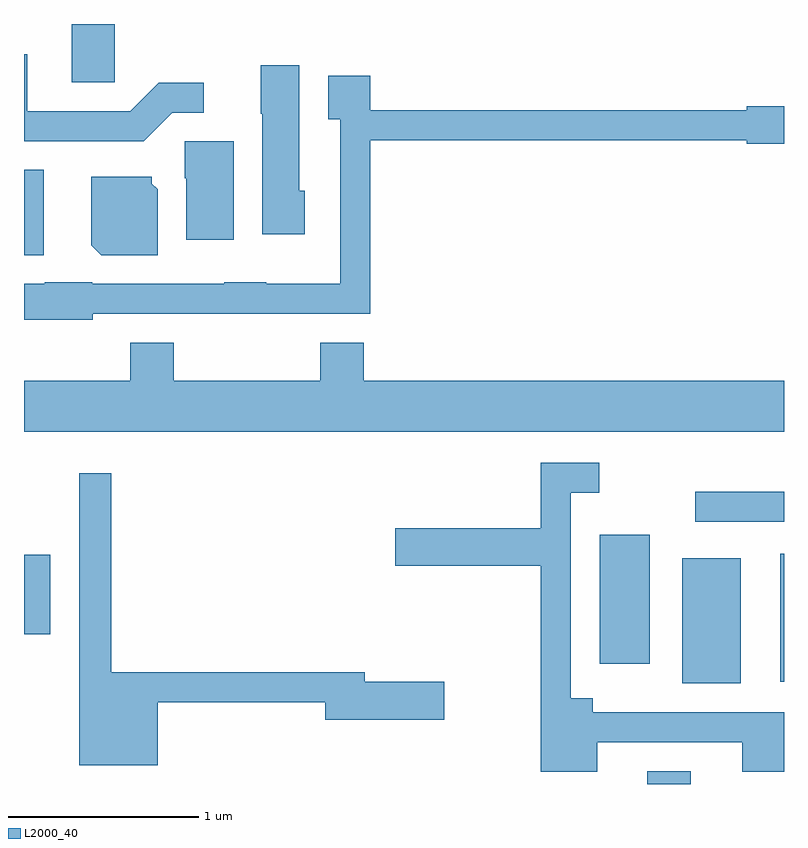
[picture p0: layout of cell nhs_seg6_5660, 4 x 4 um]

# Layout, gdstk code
import gdstk
lib = gdstk.Library(unit=1e-6, precision=1e-09)
def R(c, l, rs):  # rectangles x0, y0, x1, y1
    for r in rs: c.add(gdstk.rectangle(r[:2], r[2:], *l))
def P(c, l, *ps):  # polygons
    for p in ps: c.add(gdstk.Polygon(p, *l))
L2000_40 = (2000, 40)

nhs_seg6_5660 = lib.new_cell('nhs_seg6_5660')
R(nhs_seg6_5660, L2000_40, [(360.891,1568.162,361.119,1568.229), (361.076,1568.691,361.384,1569.349), (361.591,1568.701,361.611,1569.374), (360.641,1568.796,360.904,1569.474), (357.611,1568.951,357.749,1569.369), (361.143,1569.541,361.611,1569.699), (357.611,1570.946,357.714,1571.394), (357.861,1571.856,358.089,1572.162)])
P(nhs_seg6_5660, L2000_40, [(358.392,1571.696),(358.558,1571.696),(358.558,1571.854),(358.319,1571.854),(358.169,1571.704),(357.629,1571.704),(357.629,1572.004),(357.611,1572.004),(357.611,1571.546),(358.242,1571.546)],
  [(359.089,1571.284),(359.059,1571.284),(359.059,1571.944),(358.856,1571.944),(358.856,1571.69),(358.866,1571.69),(358.866,1571.056),(359.089,1571.056)],
  [(357.974,1570.636),(359.434,1570.636),(359.434,1571.551),(361.416,1571.551),(361.416,1571.531),(361.611,1571.531),(361.611,1571.729),(361.416,1571.729),(361.416,1571.709),(359.434,1571.709),(359.434,1571.889),(359.211,1571.889),(359.211,1571.661),(359.276,1571.661),(359.276,1570.794),(358.885,1570.794),(358.885,1570.804),(358.665,1570.804),(358.665,1570.794),(357.97,1570.794),(357.97,1570.804),(357.72,1570.804),(357.72,1570.794),(357.611,1570.794),(357.611,1570.606),(357.974,1570.606)],
  [(358.714,1571.544),(358.456,1571.544),(358.456,1571.35),(358.466,1571.35),(358.466,1571.026),(358.714,1571.026)],
  [(358.314,1571.292),(358.284,1571.322),(358.284,1571.359),(357.966,1571.359),(357.966,1570.997),(358.017,1570.946),(358.314,1570.946)],
  [(361.611,1570.284),(359.399,1570.284),(359.399,1570.484),(359.171,1570.484),(359.171,1570.284),(358.399,1570.284),(358.399,1570.484),(358.171,1570.484),(358.171,1570.284),(357.611,1570.284),(357.611,1570.016),(361.611,1570.016)],
  [(360.629,1568.381),(361.391,1568.381),(361.391,1568.226),(361.611,1568.226),(361.611,1568.539),(360.604,1568.539),(360.604,1568.614),(360.489,1568.614),(360.489,1569.696),(360.638,1569.696),(360.638,1569.854),(360.331,1569.854),(360.331,1569.509),(359.566,1569.509),(359.566,1569.311),(360.331,1569.311),(360.331,1568.226),(360.629,1568.226)],
  [(358.314,1568.591),(359.196,1568.591),(359.196,1568.501),(359.824,1568.501),(359.824,1568.699),(359.404,1568.699),(359.404,1568.749),(358.069,1568.749),(358.069,1569.798),(357.901,1569.798),(357.901,1568.261),(358.314,1568.261)])

lib.write_gds('nhs_seg6_5660.gds')
